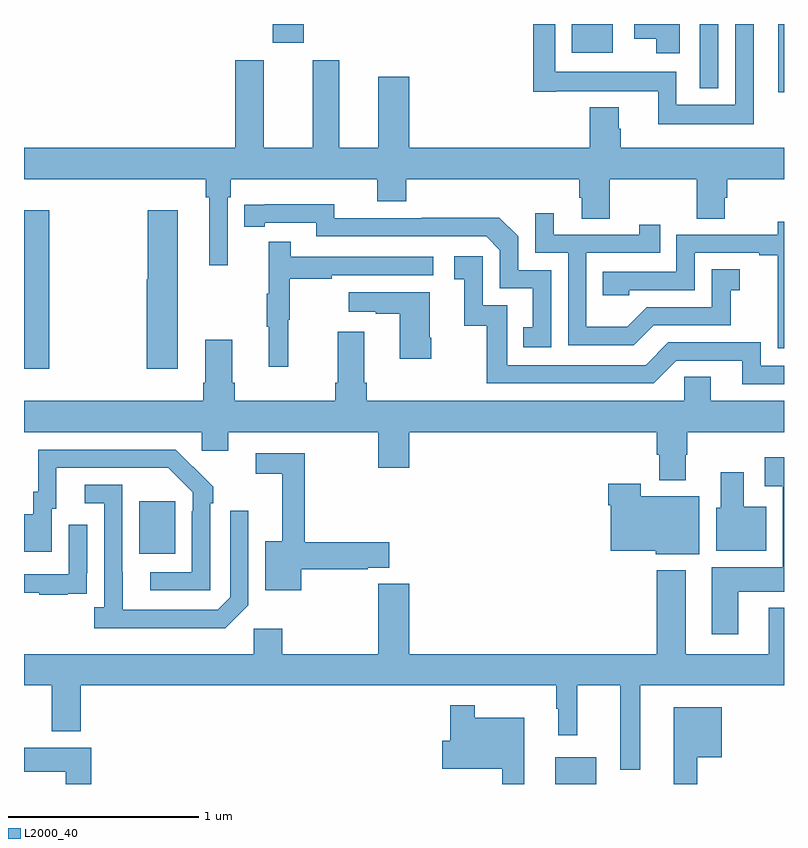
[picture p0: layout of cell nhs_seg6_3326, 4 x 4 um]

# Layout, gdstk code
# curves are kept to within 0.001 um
import gdstk
lib = gdstk.Library(unit=1e-6, precision=1e-09)
def R(c, l, rs):  # rectangles x0, y0, x1, y1
    for r in rs: c.add(gdstk.rectangle(r[:2], r[2:], *l))
def P(c, l, *ps):  # polygons
    for p in ps: c.add(gdstk.Polygon(p, *l))
L2000_40 = (2000, 40)

nhs_seg6_3326 = lib.new_cell('nhs_seg6_3326')
R(nhs_seg6_3326, L2000_40, [(309.797,929.5,310.012,929.641), (307.607,930.713,307.795,930.988), (307,931.686,307.133,932.521), (310.97,933.142,311,933.5), (310.557,933.161,310.653,933.5), (309.884,933.35,310.099,933.5), (308.309,933.402,308.473,933.5)])
P(nhs_seg6_3326, L2000_40, [(310.84,933.5),(310.743,933.5),(310.743,933.076),(310.434,933.076),(310.434,933.25),(309.795,933.25),(309.795,933.5),(309.679,933.5),(309.679,933.144),(309.802,933.144),(309.802,933.146),(310.337,933.146),(310.337,932.972),(310.84,932.972)],
  [(310.45,933.5),(310.211,933.5),(310.211,933.422),(310.328,933.422),(310.328,933.345),(310.45,933.345)],
  [(308.073,932.588),(308.087,932.588),(308.087,932.684),(308.858,932.684),(308.858,932.567),(309.011,932.567),(309.011,932.684),(309.923,932.684),(309.923,932.586),(309.935,932.586),(309.935,932.476),(310.083,932.476),(310.083,932.684),(310.54,932.684),(310.54,932.476),(310.687,932.476),(310.687,932.586),(310.7,932.586),(310.7,932.684),(311,932.684),(311,932.848),(310.142,932.848),(310.142,932.949),(310.129,932.949),(310.129,933.061),(309.977,933.061),(309.977,932.848),(309.028,932.848),(309.028,933.223),(308.864,933.223),(308.864,932.848),(308.659,932.848),(308.659,933.31),(308.519,933.31),(308.519,932.848),(308.263,932.848),(308.263,933.31),(308.111,933.31),(308.111,932.848),(307,932.848),(307,932.684),(307.957,932.684),(307.957,932.588),(307.976,932.588),(307.976,932.229),(308.073,932.229)],
  [(309.774,932.205),(309.6,932.205),(309.6,932.382),(309.502,932.48),(309.094,932.48),(309.094,932.478),(308.634,932.478),(308.634,932.551),(308.158,932.55),(308.158,932.434),(308.266,932.434),(308.266,932.454),(308.538,932.454),(308.538,932.382),(309.432,932.382),(309.504,932.31),(309.504,932.109),(309.677,932.109),(309.677,931.905),(309.628,931.905),(309.628,931.8),(309.774,931.8)],
  [(307.81,932.521),(307.652,932.521),(307.652,932.157),(307.646,932.157),(307.646,931.686),(307.81,931.686)],
  [(310.315,931.914),(310.719,931.914),(310.719,932.099),(310.768,932.099),(310.768,932.209),(310.62,932.209),(310.62,932.01),(310.278,932.01),(310.174,931.906),(309.96,931.906),(309.96,932.295),(310.349,932.295),(310.349,932.443),(310.238,932.443),(310.238,932.391),(309.787,932.391),(309.787,932.503),(309.69,932.503),(309.69,932.295),(309.864,932.295),(309.864,931.809),(310.21,931.809)],
  [(311,932.46),(310.968,932.46),(310.968,932.391),(310.434,932.391),(310.434,932.196),(310.045,932.196),(310.045,932.073),(310.185,932.073),(310.185,932.1),(310.53,932.1),(310.53,932.295),(310.871,932.295),(310.871,932.283),(310.967,932.283),(310.967,931.999),(310.966,931.999),(310.966,931.793),(311,931.793)],
  [(308.39,931.944),(308.398,931.944),(308.398,932.158),(308.621,932.158),(308.621,932.178),(309.154,932.178),(309.154,932.274),(308.405,932.274),(308.405,932.353),(308.288,932.353),(308.288,932.081),(308.277,932.081),(308.277,931.907),(308.288,931.907),(308.288,931.695),(308.39,931.695)],
  [(311,931.701),(310.878,931.701),(310.878,931.824),(310.392,931.824),(310.272,931.704),(309.543,931.704),(309.543,932.019),(309.414,932.019),(309.414,932.278),(309.264,932.278),(309.264,932.157),(309.317,932.157),(309.317,931.911),(309.435,931.911),(309.435,931.608),(310.314,931.608),(310.434,931.728),(310.781,931.728),(310.781,931.605),(311,931.605)],
  [(309.144,931.849),(309.136,931.849),(309.136,932.089),(308.709,932.089),(308.709,931.985),(308.852,931.985),(308.852,931.975),(308.978,931.975),(308.978,931.737),(309.144,931.737)],
  [(310.483,931.232),(310.491,931.232),(310.491,931.352),(311,931.352),(311,931.516),(310.615,931.516),(310.615,931.643),(310.476,931.643),(310.476,931.516),(308.804,931.516),(308.804,931.612),(308.791,931.612),(308.791,931.879),(308.651,931.879),(308.651,931.612),(308.639,931.612),(308.639,931.516),(308.108,931.516),(308.108,931.612),(308.095,931.612),(308.095,931.837),(307.955,931.837),(307.955,931.612),(307.943,931.612),(307.943,931.516),(307,931.516),(307,931.352),(307.935,931.352),(307.935,931.254),(308.074,931.254),(308.074,931.352),(308.864,931.352),(308.864,931.164),(309.028,931.164),(309.028,931.352),(310.331,931.352),(310.331,931.232),(310.343,931.232),(310.343,931.1),(310.483,931.1)],
  [(307.98,930.977),(307.995,930.977),(307.995,931.065),(307.798,931.26),(307.074,931.26),(307.074,931.038),(307.049,931.038),(307.049,930.919),(307,930.919),(307,930.723),(307.147,930.723),(307.147,930.948),(307.171,930.948),(307.171,931.164),(307.759,931.164),(307.887,931.035),(307.887,930.935),(307.884,930.935),(307.884,930.615),(307.665,930.615),(307.665,930.519),(307.98,930.519)],
  [(308.458,930.631),(308.81,930.631),(308.81,930.638),(308.923,930.638),(308.923,930.773),(308.477,930.773),(308.477,931.242),(308.22,931.242),(308.22,931.134),(308.36,931.134),(308.36,930.778),(308.27,930.778),(308.27,930.521),(308.458,930.521)],
  [(310.759,930.512),(311,930.512),(311,931.219),(310.899,931.219),(310.899,931.067),(310.994,931.067),(310.994,930.64),(310.619,930.64),(310.619,930.288),(310.759,930.288)],
  [(310.906,930.958),(310.789,930.958),(310.789,931.141),(310.667,931.141),(310.667,930.954),(310.643,930.954),(310.643,930.728),(310.906,930.728)],
  [(310.555,931.015),(310.246,931.015),(310.246,931.081),(310.076,931.081),(310.076,930.968),(310.088,930.968),(310.088,930.728),(310.326,930.728),(310.326,930.71),(310.555,930.71)],
  [(308.181,930.441),(308.181,930.937),(308.085,930.937),(308.085,930.483),(308.019,930.417),(307.519,930.417),(307.518,931.074),(307.32,931.074),(307.32,930.978),(307.422,930.978),(307.422,930.43),(307.371,930.43),(307.371,930.32),(308.06,930.32)],
  [(307.229,930.501),(307.331,930.501),(307.331,930.61),(307.332,930.61),(307.332,930.865),(307.236,930.865),(307.236,930.603),(307,930.603),(307,930.507),(307.081,930.507),(307.081,930.495),(307.229,930.495)],
  [(310.243,930.02),(311,930.02),(311,930.427),(310.919,930.427),(310.919,930.184),(310.483,930.184),(310.483,930.625),(310.331,930.625),(310.331,930.184),(309.028,930.184),(309.028,930.553),(308.864,930.553),(308.864,930.184),(308.36,930.184),(308.36,930.316),(308.208,930.316),(308.208,930.184),(307,930.184),(307,930.02),(307.145,930.02),(307.145,929.777),(307.298,929.777),(307.298,930.02),(309.801,930.02),(309.801,929.897),(309.812,929.897),(309.812,929.757),(309.912,929.757),(309.912,930.02),(310.139,930.02),(310.139,929.576),(310.243,929.576)],
  [(309.634,929.848),(309.373,929.848),(309.373,929.914),(309.244,929.914),(309.244,929.727),(309.2,929.727),(309.2,929.579),(309.517,929.579),(309.517,929.5),(309.634,929.5)],
  [(310.543,929.642),(310.672,929.642),(310.672,929.905),(310.421,929.905),(310.421,929.5),(310.543,929.5)],
  [(307.355,929.692),(307,929.692),(307,929.564),(307.22,929.564),(307.22,929.5),(307.355,929.5)])

lib.write_gds('nhs_seg6_3326.gds')
